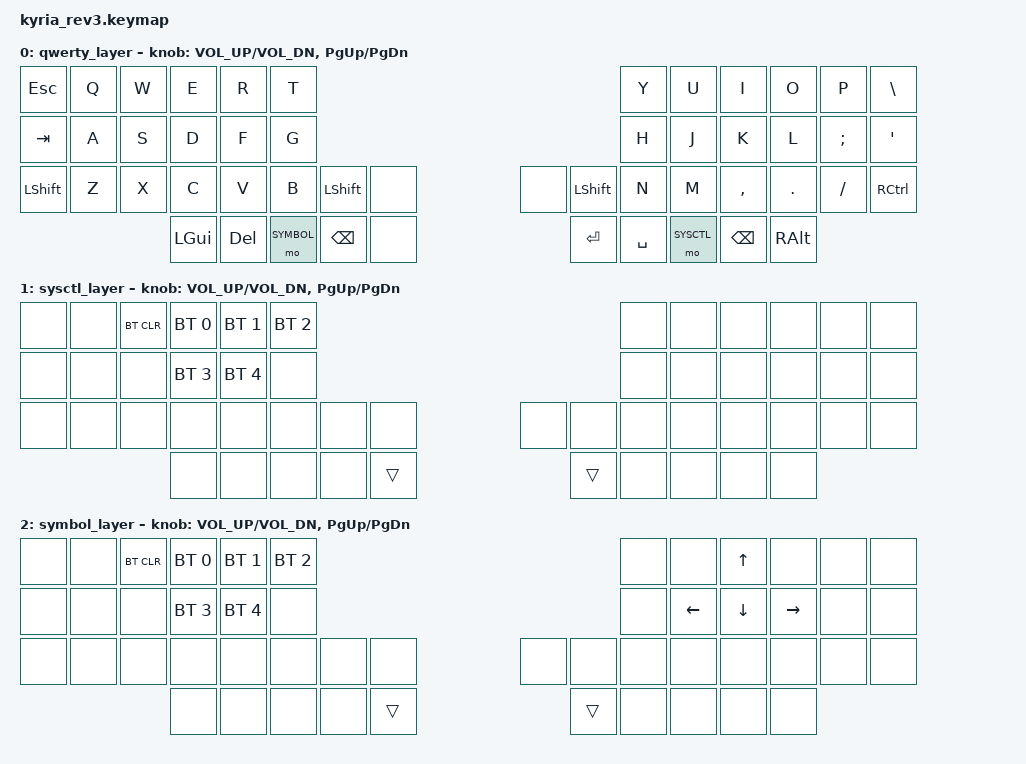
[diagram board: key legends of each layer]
/*
 * Copyright (c) 2023 The ZMK Contributors
 *
 * SPDX-License-Identifier: MIT
 */

#include <behaviors.dtsi>
#include <dt-bindings/zmk/bt.h>
#include <dt-bindings/zmk/keys.h>


#define QWERTY 0
#define SYSCTL 1
#define SYMBOL 2


&led_strip {
    chain-length = <25>; // Uncomment if using only per-key LEDs.
};

/ {
    keymap {
        compatible = "zmk,keymap";

        qwerty_layer {
            //  ┌───────┬───────┬───────┬───────┬───────┬───────┐                                      ┌───────┬───────┬───────┬───────┬───────┬───────┐
            //  │  ESC  │   Q   │   W   │   E   │   R   │   T   │                                      │   Y   │   U   │   I   │   O   │   P   │   \   │
            //  ├───────┼───────┼───────┼───────┼───────┼───────┤                                      ├───────┼───────┼───────┼───────┼───────┼───────┤
            //  │  TAB  │   A   │   S   │   D   │   F   │   G   │                                      │   H   │   J   │   K   │   L   │   ;   │   '   │
            //  ├───────┼───────┼───────┼───────┼───────┼───────┼───────┬───────┐      ┌───────┬───────┼───────┼───────┼───────┼───────┼───────┼───────┤
            //  │ SHIFT │   Z   │   X   │   C   │   V   │   B   │L SHIFT│       │      │       │L SHIFT│   N   │   M   │   ,   │   .   │   /   │  CTRL │
            //  └───────┴───────┴────┬──┴────┬──┴────┬──┴────┬──┴─────┬─┴──────┬┘      └┬──────┴─┬─────┴──┬────┴──┬────┴──┬────┴──┬────┴───────┴───────┘
            //                       │  GUI  │  DEL  │ SYMBOL│  BPSC  │        │        │  ENTER │ SPACE  │ SYSCTL│ BSPC  │ R ALT │
            //                       └───────┴───────┴───────┴────────┴────────┘        └────────┴────────┴───────┴───────┴───────┘

            bindings = <
            &kp ESC   &kp Q &kp W &kp E &kp R &kp T                                                  &kp Y &kp U  &kp I     &kp O   &kp P    &kp BSLH
            &kp TAB   &kp A &kp S &kp D &kp F &kp G                                                  &kp H &kp J  &kp K     &kp L   &kp SEMI &kp SQT
            &kp LSHFT &kp Z &kp X &kp C &kp V &kp B &kp LSHFT &none                &none   &kp LSHFT &kp N &kp M  &kp COMMA &kp DOT &kp FSLH &kp RCTRL
                                  &kp LGUI &kp DEL &mo SYMBOL &kp BSPC &none       &kp ENTER &kp SPACE &mo SYSCTL &kp BSPC &kp RALT
            >;

            sensor-bindings = <&inc_dec_kp C_VOL_UP C_VOL_DN &inc_dec_kp PG_UP PG_DN>;
        };

        sysctl_layer {
            //  ┌───────┬───────┬───────┬───────┬───────┬───────┐                                      ┌───────┬───────┬───────┬───────┬───────┬───────┐
            //  │       │       │BT_CLR │BTSEL0 │BTSEL1 │BTSEL2 │                                      │       │       │       │       │       │       │
            //  ├───────┼───────┼───────┼───────┼───────┼───────┤                                      ├───────┼───────┼───────┼───────┼───────┼───────┤
            //  │       │       │       │BTSEL3 │BTSEL4 │       │                                      │       │       │       │       │       │       │
            //  ├───────┼───────┼───────┼───────┼───────┼───────┼───────┬───────┐      ┌───────┬───────┼───────┼───────┼───────┼───────┼───────┼───────┤
            //  │       │       │       │       │       │       │       │       │      │       │       │       │       │       │       │       │       │
            //  └───────┴───────┴────┬──┴────┬──┴────┬──┴────┬──┴─────┬─┴──────┬┘      └┬──────┴─┬─────┴──┬────┴──┬────┴──┬────┴──┬────┴───────┴───────┘
            //                       │       │       │       │        │        │        │        │        │       │       │       │
            //                       └───────┴───────┴───────┴────────┴────────┘        └────────┴────────┴───────┴───────┴───────┘

            bindings = <
            &none  &none  &bt BT_CLR &bt BT_SEL 0  &bt BT_SEL 1 &bt BT_SEL 2                                         &none  &none  &none  &none  &none  &none 
            &none  &none  &none      &bt BT_SEL 3  &bt BT_SEL 4 &none                                                &none  &none  &none  &none  &none  &none 
            &none  &none  &none      &none         &none        &none        &none  &none              &none  &none  &none  &none  &none  &none  &none  &none 
                                     &none         &none        &none        &none  &trans             &trans &none  &none  &none  &none 
            >;

            sensor-bindings = <&inc_dec_kp C_VOL_UP C_VOL_DN &inc_dec_kp PG_UP PG_DN>;
        };

        symbol_layer {
            //  ┌───────┬───────┬───────┬───────┬───────┬───────┐                                      ┌───────┬───────┬───────┬───────┬───────┬───────┐
            //  │       │       │BT_CLR │BTSEL0 │BTSEL1 │BTSEL2 │                                      │       │       │  UP   │       │       │       │
            //  ├───────┼───────┼───────┼───────┼───────┼───────┤                                      ├───────┼───────┼───────┼───────┼───────┼───────┤
            //  │       │       │       │BTSEL3 │BTSEL4 │       │                                      │       │ LEFT  │ DOWN  │ RIGHT │       │       │
            //  ├───────┼───────┼───────┼───────┼───────┼───────┼───────┬───────┐      ┌───────┬───────┼───────┼───────┼───────┼───────┼───────┼───────┤
            //  │       │       │       │       │       │       │       │       │      │       │       │       │       │       │       │       │       │
            //  └───────┴───────┴────┬──┴────┬──┴────┬──┴────┬──┴─────┬─┴──────┬┘      └┬──────┴─┬─────┴──┬────┴──┬────┴──┬────┴──┬────┴───────┴───────┘
            //                       │       │       │       │        │        │        │        │        │       │       │       │
            //                       └───────┴───────┴───────┴────────┴────────┘        └────────┴────────┴───────┴───────┴───────┘

            bindings = <
            &none  &none  &bt BT_CLR &bt BT_SEL 0  &bt BT_SEL 1 &bt BT_SEL 2                                         &none  &none     &kp UP    &none      &none  &none 
            &none  &none  &none      &bt BT_SEL 3  &bt BT_SEL 4 &none                                                &none  &kp LEFT  &kp DOWN  &kp RIGHT  &none  &none 
            &none  &none  &none      &none         &none        &none        &none  &none              &none  &none  &none  &none     &none     &none      &none  &none 
                                     &none         &none        &none        &none  &trans             &trans &none  &none  &none     &none 
            >;

            sensor-bindings = <&inc_dec_kp C_VOL_UP C_VOL_DN &inc_dec_kp PG_UP PG_DN>;
        };
    };
};



// Kyria v3.1 template
//
//  ┌───────┬───────┬───────┬───────┬───────┬───────┐                                      ┌───────┬───────┬───────┬───────┬───────┬───────┐
//  │       │       │       │       │       │       │                                      │       │       │       │       │       │       │
//  ├───────┼───────┼───────┼───────┼───────┼───────┤                                      ├───────┼───────┼───────┼───────┼───────┼───────┤
//  │       │       │       │       │       │       │                                      │       │       │       │       │       │       │
//  ├───────┼───────┼───────┼───────┼───────┼───────┼───────┬───────┐      ┌───────┬───────┼───────┼───────┼───────┼───────┼───────┼───────┤
//  │       │       │       │       │       │       │       │       │      │       │       │       │       │       │       │       │       │
//  └───────┴───────┴────┬──┴────┬──┴────┬──┴────┬──┴─────┬─┴──────┬┘      └┬──────┴─┬─────┴──┬────┴──┬────┴──┬────┴──┬────┴───────┴───────┘
//                       │       │       │       │        │        │        │        │        │       │       │       │
//                       └───────┴───────┴───────┴────────┴────────┘        └────────┴────────┴───────┴───────┴───────┘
